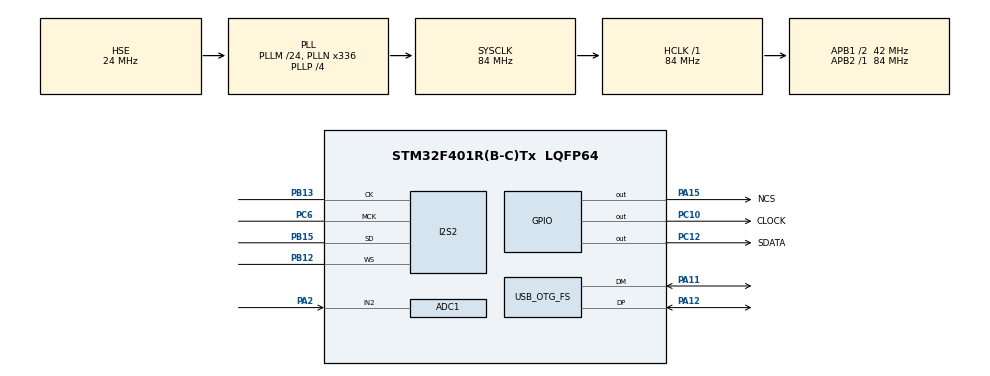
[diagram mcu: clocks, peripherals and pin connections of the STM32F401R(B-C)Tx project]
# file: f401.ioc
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ADC1.Channel-1\#ChannelRegularConversion=ADC_CHANNEL_2
ADC1.ClockPrescaler=ADC_CLOCK_SYNC_PCLK_DIV8
ADC1.ContinuousConvMode=DISABLE
ADC1.NbrOfConversionFlag=1
ADC1.Rank-1\#ChannelRegularConversion=1
ADC1.Resolution=ADC_RESOLUTION_12B
ADC1.SamplingTime-1\#ChannelRegularConversion=ADC_SAMPLETIME_3CYCLES
ADC1.master=1
Dma.Request0=SPI2_TX
Dma.SPI2_TX.0.Direction=DMA_MEMORY_TO_PERIPH
Dma.SPI2_TX.0.FIFOMode=DMA_FIFOMODE_DISABLE
Dma.SPI2_TX.0.Instance=DMA1_Stream4
Dma.SPI2_TX.0.MemDataAlignment=DMA_MDATAALIGN_WORD
Dma.SPI2_TX.0.MemInc=DMA_MINC_ENABLE
Dma.SPI2_TX.0.Mode=DMA_CIRCULAR
Dma.SPI2_TX.0.PeriphDataAlignment=DMA_PDATAALIGN_WORD
Dma.SPI2_TX.0.PeriphInc=DMA_PINC_DISABLE
Dma.SPI2_TX.0.Priority=DMA_PRIORITY_VERY_HIGH
I2S2.AudioFreq=I2S_AUDIOFREQ_48K
I2S2.AudioFreqCustom=68000
I2S2.CPOL=I2S_CPOL_LOW
I2S2.DataFormat=I2S_DATAFORMAT_16B_EXTENDED
I2S2.ErrorAudioFreq=-0.01 %
I2S2.FullDuplexMode=I2S_FULLDUPLEXMODE_DISABLE
I2S2.Instance=SPI$Index
I2S2.RealAudioFreq=47.991 KHz
I2S2.Standard=I2S_STANDARD_MSB
I2S2.VirtualMode=I2S_MODE_MASTER
Mcu.Family=STM32F4
Mcu.Name=STM32F401R(B-C)Tx
Mcu.Package=LQFP64
NVIC.DMA1_Stream4_IRQn=true\:0\:0\:false\:false\:true\:false\:true\:true
NVIC.OTG_FS_IRQn=true\:0\:0\:false\:false\:true\:false\:true\:true
NVIC.PriorityGroup=NVIC_PRIORITYGROUP_4
PA11.Mode=Device_Only
PA11.Signal=USB_OTG_FS_DM
PA12.Mode=Device_Only
PA12.Signal=USB_OTG_FS_DP
PA13.Mode=Serial_Wire
PA13.Signal=SYS_JTMS-SWDIO
PA14.Mode=Serial_Wire
PA14.Signal=SYS_JTCK-SWCLK
PA15.GPIO_Label=NCS
PA15.GPIO_Speed=GPIO_SPEED_FREQ_MEDIUM
PA15.PinState=GPIO_PIN_SET
PA15.Signal=GPIO_Output
PA2.Signal=ADCx_IN2
PB12.GPIO_Speed=GPIO_SPEED_FREQ_LOW
PB12.Mode=Half_Duplex_Master
PB12.Signal=I2S2_WS
PB13.GPIO_Speed=GPIO_SPEED_FREQ_LOW
PB13.Mode=Half_Duplex_Master
PB13.Signal=I2S2_CK
PB15.GPIO_Speed=GPIO_SPEED_FREQ_LOW
PB15.Mode=Half_Duplex_Master
PB15.Signal=I2S2_SD
PC10.GPIO_Label=CLOCK
PC10.GPIO_Speed=GPIO_SPEED_FREQ_MEDIUM
PC10.PinState=GPIO_PIN_SET
PC10.Signal=GPIO_Output
PC12.GPIO_Label=SDATA
PC12.GPIO_Speed=GPIO_SPEED_FREQ_MEDIUM
PC12.Signal=GPIO_Output
PC6.GPIO_Speed=GPIO_SPEED_FREQ_LOW
PC6.Mode=Master_Clock_Activated
PC6.Signal=I2S2_MCK
PH0\ -\ OSC_IN.Mode=HSE-External-Oscillator
PH0\ -\ OSC_IN.Signal=RCC_OSC_IN
PH1\ -\ OSC_OUT.Mode=HSE-External-Oscillator
PH1\ -\ OSC_OUT.Signal=RCC_OSC_OUT
ProjectManager.HeapSize=0x200
ProjectManager.StackSize=0x400
ProjectManager.TargetToolchain=STM32CubeIDE
RCC.48MHZClocksFreq_Value=48000000
RCC.AHBFreq_Value=84000000
RCC.APB1CLKDivider=RCC_HCLK_DIV2
RCC.APB1Freq_Value=42000000
RCC.APB1TimFreq_Value=84000000
RCC.APB2Freq_Value=84000000
RCC.APB2TimFreq_Value=84000000
RCC.CortexFreq_Value=84000000
RCC.HCLKFreq_Value=84000000
RCC.HSE_VALUE=24000000
RCC.HSI_VALUE=16000000
RCC.LSE_VALUE=32768
RCC.PLLI2SN=172
RCC.PLLM=12
RCC.PLLN=168
RCC.PLLP=RCC_PLLP_DIV4
RCC.PLLQ=7
RCC.SYSCLKFreq_VALUE=84000000
RCC.SYSCLKSource=RCC_SYSCLKSOURCE_PLLCLK
RCC.VCOOutputFreq_Value=336000000
SH.ADCx_IN2.0=ADC1_IN2,IN2
USB_DEVICE.CLASS_NAME_FS=AUDIO
USB_DEVICE.USBD_AUDIO_FREQ=48000
USB_DEVICE.USBD_DEBUG_LEVEL=2
USB_DEVICE.VirtualMode=Audio
USB_DEVICE.VirtualModeFS=Audio_FS
USB_OTG_FS.VirtualMode=Device_Only
VP_USB_DEVICE_VS_USB_DEVICE_AUDIO_FS.Mode=AUDIO_FS
board=custom

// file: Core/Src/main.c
/* USER CODE BEGIN Header */
/**
  ******************************************************************************
  * @file           : main.c
  * @brief          : Main program body
  ******************************************************************************
  * @attention
  *
  * Copyright (c) 2024 STMicroelectronics.
  * All rights reserved.
  *
  * This software is licensed under terms that can be found in the LICENSE file
  * in the root directory of this software component.
  * If no LICENSE file comes with this software, it is provided AS-IS.
  *
  ******************************************************************************
  */
/* USER CODE END Header */
#include "main.h"
#include "usb_device.h"

/* USER CODE BEGIN PD */
#define BUFFER_SIZE 480
/* USER CODE END PD */

ADC_HandleTypeDef hadc1;

I2S_HandleTypeDef hi2s2;
DMA_HandleTypeDef hdma_spi2_tx;

/* USER CODE BEGIN PV */
uint32_t buffer[BUFFER_SIZE] = {0};
uint8_t activeBuffHalf = 0;
uint8_t readyForData = 0;
uint8_t mute = 0;
uint8_t lastMute = 0;
uint8_t updateFreq = 0;
uint32_t freq = 48000U, lastFreq = 48000U;
uint8_t bitDepth = 16U, lastBitDepth = 16U;
uint16_t adcVal = 0;
int16_t vol = -1;
uint32_t mainSN = 344U, mainSR = 2U;
/* USER CODE END PV */

void SystemClock_Config(void);
static void MX_GPIO_Init(void);
static void MX_DMA_Init(void);
static void MX_I2S2_Init(void);
static void MX_ADC1_Init(void);
/* USER CODE BEGIN PFP */

uint8_t DAC_WRITE(uint8_t addr, uint8_t data);
void DAC_INIT();
void customSPI(uint16_t data);

/* USER CODE END PFP */

/* USER CODE BEGIN 0 */
void HAL_I2S_TxCpltCallback(I2S_HandleTypeDef* hi2s){
	activeBuffHalf = 0;
	updateBuffer();
}

void HAL_I2S_TxHalfCpltCallback(I2S_HandleTypeDef *hi2s){
	activeBuffHalf = 1;
	updateBuffer();
}
/* USER CODE END 0 */

int main(void)
{

  /* MCU Configuration--------------------------------------------------------*/

  /* Reset of all peripherals, Initializes the Flash interface and the Systick. */
  HAL_Init();

  /* USER CODE BEGIN Init */
  HAL_Delay(1000);
  /* USER CODE END Init */

  /* Configure the system clock */
  SystemClock_Config();

  /* Initialize all configured peripherals */
  MX_GPIO_Init();
  MX_DMA_Init();
  MX_I2S2_Init();
  MX_USB_DEVICE_Init();
  MX_ADC1_Init();
  /* USER CODE BEGIN 2 */
  getInfo(buffer, BUFFER_SIZE, &activeBuffHalf);
  getMute(&mute);
  getFreqPoint(&freq, &updateFreq, &bitDepth);
  HAL_StatusTypeDef status = HAL_I2S_Transmit_DMA(&hi2s2, (uint16_t*)buffer, BUFFER_SIZE);
  DAC_INIT();
  HAL_ADC_Start(&hadc1);
  /* USER CODE END 2 */

  /* Infinite loop */
  while (1)
  {

    /* USER CODE BEGIN 3 */
	  if(updateFreq){
		  HAL_I2S_DMAStop(&hi2s2);
		  HAL_I2S_DeInit(&hi2s2);
		  HAL_I2S_MspDeInit(&hi2s2);
		  if(freq != lastFreq){
			  lastFreq = freq;
			  switch(freq){
			  case 44100U:
				  mainSN = 271U;
				  mainSR = 2U;
				  break;
			  default:
				  mainSN = 344U;
				  mainSR = 2U;
				  break;
			  }
			  hi2s2.Init.AudioFreq = freq;
		  }
		  if(bitDepth != lastBitDepth){
			  lastBitDepth = bitDepth;
			  switch(bitDepth){
			  case 16U:
				  hdma_spi2_tx.Init.MemDataAlignment = (uint32_t)(2U << 13);
				  hi2s2.Init.DataFormat = I2S_DATAFORMAT_16B_EXTENDED;
				  break;
			  case 24U:
				  hdma_spi2_tx.Init.MemDataAlignment = (uint32_t)(1U << 13);
				  hi2s2.Init.DataFormat = I2S_DATAFORMAT_24B;
				  break;
			  }
		  }
		  MX_I2S2_Init();
		  HAL_I2S_Transmit_DMA(&hi2s2, (uint16_t*)buffer, BUFFER_SIZE);
		  updateFreq = 0;
	  }

	  if(mute && !lastMute){
		  DAC_WRITE(18, 3);
		  lastMute = 1;
	  }
	  if(lastMute && !mute){
		  DAC_WRITE(18, 0);
		  lastMute = 0;
	  }

	  HAL_ADC_Start(&hadc1);
	  HAL_ADC_PollForConversion(&hadc1, 100);
	  adcVal = HAL_ADC_GetValue(&hadc1);

	  if (vol == -1){
		  vol = adcVal >> 1;
		  DAC_WRITE(16, vol + 128);
		  DAC_WRITE(17, vol + 128);
	  }
	  else if((adcVal >> 1) != vol){
		  vol = adcVal >> 1;
		  DAC_WRITE(16, vol + 128);
		  DAC_WRITE(17, vol + 128);
	  }
  }
  /* USER CODE END 3 */
}

void SystemClock_Config(void)
{
  RCC_OscInitTypeDef RCC_OscInitStruct = {0};
  RCC_ClkInitTypeDef RCC_ClkInitStruct = {0};

  /** Configure the main internal regulator output voltage
  */
  __HAL_RCC_PWR_CLK_ENABLE();
  __HAL_PWR_VOLTAGESCALING_CONFIG(PWR_REGULATOR_VOLTAGE_SCALE2);

  /** Initializes the RCC Oscillators according to the specified parameters
  * in the RCC_OscInitTypeDef structure.
  */
  RCC_OscInitStruct.OscillatorType = RCC_OSCILLATORTYPE_HSE;
  RCC_OscInitStruct.HSEState = RCC_HSE_ON;
  RCC_OscInitStruct.PLL.PLLState = RCC_PLL_ON;
  RCC_OscInitStruct.PLL.PLLSource = RCC_PLLSOURCE_HSE;
  RCC_OscInitStruct.PLL.PLLM = 24;
  RCC_OscInitStruct.PLL.PLLN = 336;
  RCC_OscInitStruct.PLL.PLLP = RCC_PLLP_DIV4;
  RCC_OscInitStruct.PLL.PLLQ = 7;
  if (HAL_RCC_OscConfig(&RCC_OscInitStruct) != HAL_OK)
  {
    Error_Handler();
  }

  /** Initializes the CPU, AHB and APB buses clocks
  */
  RCC_ClkInitStruct.ClockType = RCC_CLOCKTYPE_HCLK|RCC_CLOCKTYPE_SYSCLK
                              |RCC_CLOCKTYPE_PCLK1|RCC_CLOCKTYPE_PCLK2;
  RCC_ClkInitStruct.SYSCLKSource = RCC_SYSCLKSOURCE_PLLCLK;
  RCC_ClkInitStruct.AHBCLKDivider = RCC_SYSCLK_DIV1;
  RCC_ClkInitStruct.APB1CLKDivider = RCC_HCLK_DIV2;
  RCC_ClkInitStruct.APB2CLKDivider = RCC_HCLK_DIV1;

  if (HAL_RCC_ClockConfig(&RCC_ClkInitStruct, FLASH_LATENCY_2) != HAL_OK)
  {
    Error_Handler();
  }
}

static void MX_ADC1_Init(void)
{

  ADC_ChannelConfTypeDef sConfig = {0};

  /** Configure the global features of the ADC (Clock, Resolution, Data Alignment and number of conversion)
  */
  hadc1.Instance = ADC1;
  hadc1.Init.ClockPrescaler = ADC_CLOCK_SYNC_PCLK_DIV8;
  hadc1.Init.Resolution = ADC_RESOLUTION_8B;
  hadc1.Init.ScanConvMode = DISABLE;
  hadc1.Init.ContinuousConvMode = ENABLE;
  hadc1.Init.DiscontinuousConvMode = DISABLE;
  hadc1.Init.ExternalTrigConvEdge = ADC_EXTERNALTRIGCONVEDGE_NONE;
  hadc1.Init.ExternalTrigConv = ADC_SOFTWARE_START;
  hadc1.Init.DataAlign = ADC_DATAALIGN_RIGHT;
  hadc1.Init.NbrOfConversion = 1;
  hadc1.Init.DMAContinuousRequests = DISABLE;
  hadc1.Init.EOCSelection = ADC_EOC_SINGLE_CONV;
  if (HAL_ADC_Init(&hadc1) != HAL_OK)
  {
    Error_Handler();
  }

  /** Configure for the selected ADC regular channel its corresponding rank in the sequencer and its sample time.
  */
  sConfig.Channel = ADC_CHANNEL_2;
  sConfig.Rank = 1;
  sConfig.SamplingTime = ADC_SAMPLETIME_3CYCLES;
  if (HAL_ADC_ConfigChannel(&hadc1, &sConfig) != HAL_OK)
  {
    Error_Handler();
  }

}

static void MX_I2S2_Init(void)
{

  hi2s2.Instance = SPI2;
  hi2s2.Init.Mode = I2S_MODE_MASTER_TX;
  hi2s2.Init.Standard = I2S_STANDARD_MSB;
  hi2s2.Init.DataFormat = I2S_DATAFORMAT_16B_EXTENDED;
  hi2s2.Init.MCLKOutput = I2S_MCLKOUTPUT_ENABLE;
  hi2s2.Init.AudioFreq = freq;
  hi2s2.Init.CPOL = I2S_CPOL_LOW;
  hi2s2.Init.ClockSource = I2S_CLOCK_PLL;
  hi2s2.Init.FullDuplexMode = I2S_FULLDUPLEXMODE_DISABLE;
  if (HAL_I2S_Init(&hi2s2) != HAL_OK)
  {
    Error_Handler();
  }

}

static void MX_DMA_Init(void)
{

  /* DMA controller clock enable */
  __HAL_RCC_DMA1_CLK_ENABLE();

  /* DMA interrupt init */
  /* DMA1_Stream4_IRQn interrupt configuration */
  HAL_NVIC_SetPriority(DMA1_Stream4_IRQn, 0, 0);
  HAL_NVIC_EnableIRQ(DMA1_Stream4_IRQn);

}

static void MX_GPIO_Init(void)
{
  GPIO_InitTypeDef GPIO_InitStruct = {0};

  /* GPIO Ports Clock Enable */
  __HAL_RCC_GPIOH_CLK_ENABLE();
  __HAL_RCC_GPIOA_CLK_ENABLE();
  __HAL_RCC_GPIOB_CLK_ENABLE();
  __HAL_RCC_GPIOC_CLK_ENABLE();

  /*Configure GPIO pin Output Level */
  HAL_GPIO_WritePin(NCS_GPIO_Port, NCS_Pin, GPIO_PIN_SET);

  /*Configure GPIO pin Output Level */
  HAL_GPIO_WritePin(CLOCK_GPIO_Port, CLOCK_Pin, GPIO_PIN_SET);

  /*Configure GPIO pin Output Level */
  HAL_GPIO_WritePin(SDATA_GPIO_Port, SDATA_Pin, GPIO_PIN_RESET);

  /*Configure GPIO pin : NCS_Pin */
  GPIO_InitStruct.Pin = NCS_Pin;
  GPIO_InitStruct.Mode = GPIO_MODE_OUTPUT_PP;
  GPIO_InitStruct.Pull = GPIO_NOPULL;
  GPIO_InitStruct.Speed = GPIO_SPEED_FREQ_MEDIUM;
  HAL_GPIO_Init(NCS_GPIO_Port, &GPIO_InitStruct);

  /*Configure GPIO pins : CLOCK_Pin SDATA_Pin */
  GPIO_InitStruct.Pin = CLOCK_Pin|SDATA_Pin;
  GPIO_InitStruct.Mode = GPIO_MODE_OUTPUT_PP;
  GPIO_InitStruct.Pull = GPIO_NOPULL;
  GPIO_InitStruct.Speed = GPIO_SPEED_FREQ_MEDIUM;
  HAL_GPIO_Init(GPIOC, &GPIO_InitStruct);

}

/* USER CODE BEGIN 4 */

uint8_t DAC_WRITE(uint8_t addr, uint8_t data){

	uint16_t buf = (addr << 8) + data;

	customSPI(buf);
	HAL_Delay(10);

	return 0;
}

void DAC_INIT(){

	DAC_WRITE(16, 127);
	DAC_WRITE(17, 127);
	DAC_WRITE(18, 0);
}

void customSPI(uint16_t data){

	for(int i = 0; i < 64; i++){
	HAL_GPIO_WritePin(CLOCK_GPIO_Port, CLOCK_Pin, 0);
	HAL_GPIO_WritePin(CLOCK_GPIO_Port, CLOCK_Pin, 1);
	}

	HAL_GPIO_WritePin(CLOCK_GPIO_Port, CLOCK_Pin, 0);
	HAL_GPIO_WritePin(NCS_GPIO_Port, NCS_Pin, 0);
	for(int i = 0; i < 16; i++){
		if(data & (1 << (15-i))){
			HAL_GPIO_WritePin(SDATA_GPIO_Port, SDATA_Pin, 1);
		}
		else{
			HAL_GPIO_WritePin(SDATA_GPIO_Port, SDATA_Pin, 0);
		}
		HAL_GPIO_WritePin(CLOCK_GPIO_Port, CLOCK_Pin, 1);
		HAL_GPIO_WritePin(CLOCK_GPIO_Port, CLOCK_Pin, 0);
	}
	HAL_GPIO_WritePin(NCS_GPIO_Port, NCS_Pin, 1);
	HAL_GPIO_WritePin(CLOCK_GPIO_Port, CLOCK_Pin, 1);

	for(int i = 0; i < 64; i++){
		HAL_GPIO_WritePin(CLOCK_GPIO_Port, CLOCK_Pin, 0);
		HAL_GPIO_WritePin(CLOCK_GPIO_Port, CLOCK_Pin, 1);
	}

}

void getPllValues(uint32_t* pllsn, uint32_t* pllsr){
	*pllsn = mainSN;
	*pllsr = mainSR;
}
/* USER CODE END 4 */

void Error_Handler(void)
{
  __disable_irq();
  while (1)
  {
  }
}
